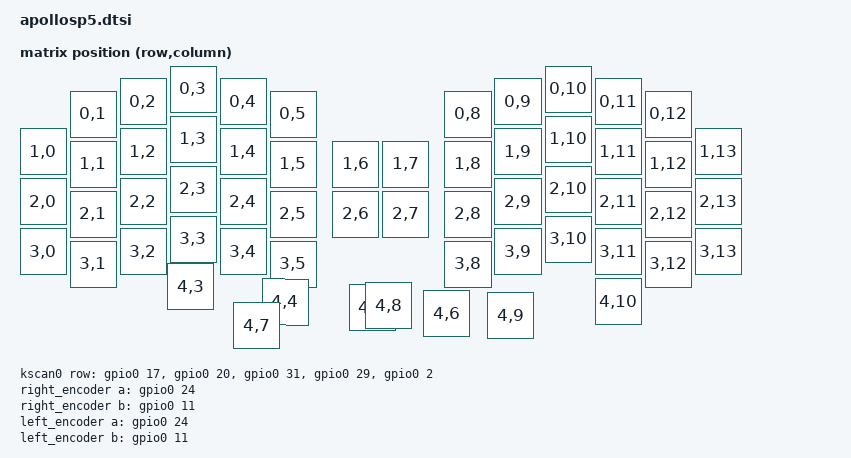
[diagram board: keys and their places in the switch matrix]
#include <dt-bindings/zmk/matrix_transform.h>
#include <physical_layouts.dtsi>
#include <dt-bindings/zmk/mouse.h>

/ {
    chosen {
        zmk,kscan = &kscan0;
        zmk,physical-layout = &physical_layout0;
    };

    vbatt: vbatt {
        compatible = "zmk,battery-nrf-vddh";
    };

    physical_layout0: physical_layout0 {
        compatible = "zmk,physical-layout";
        display-name = "Default Layout";
        transform = <&default_transform>;
keys 
            /* Row 0: 1段目 (10個) */
            = <&key_physical_attrs 100 100 100 25 0 0 0>   // [0,1]
            , <&key_physical_attrs 100 100 200 0 0 0 0>    // [0,2]
            , <&key_physical_attrs 100 100 300 -25 0 0 0>  // [0,3]
            , <&key_physical_attrs 100 100 400 0 0 0 0>    // [0,4]
            , <&key_physical_attrs 100 100 500 25 0 0 0>   // [0,5]

            , <&key_physical_attrs 100 100 850 25 0 0 0>   // [0,8]
            , <&key_physical_attrs 100 100 950 0 0 0 0>    // [0,9]
            , <&key_physical_attrs 100 100 1050 -25 0 0 0> // [0,10]
            , <&key_physical_attrs 100 100 1150 0 0 0 0>   // [0,11]
            , <&key_physical_attrs 100 100 1250 25 0 0 0>  // [0,12]

            /* Row 1: 2段目 (14個) */
            , <&key_physical_attrs 100 100 0 100 0 0 0>     // [1,0]
            , <&key_physical_attrs 100 100 100 125 0 0 0>   // [1,1]
            , <&key_physical_attrs 100 100 200 100 0 0 0>   // [1,2]
            , <&key_physical_attrs 100 100 300 75 0 0 0>    // [1,3]
            , <&key_physical_attrs 100 100 400 100 0 0 0>   // [1,4]
            , <&key_physical_attrs 100 100 500 125 0 0 0>   // [1,5]
            , <&key_physical_attrs 100 100 625 125 0 0 0>   // [1,6]

            , <&key_physical_attrs 100 100 725 125 0 0 0>   // [1,7]
            , <&key_physical_attrs 100 100 850 125 0 0 0>   // [1,8]
            , <&key_physical_attrs 100 100 950 100 0 0 0>   // [1,9]
            , <&key_physical_attrs 100 100 1050 75 0 0 0>   // [1,10]
            , <&key_physical_attrs 100 100 1150 100 0 0 0>  // [1,11]
            , <&key_physical_attrs 100 100 1250 125 0 0 0>  // [1,12]
            , <&key_physical_attrs 100 100 1350 100 0 0 0>  // [1,13]

            /* Row 2: 3段目 (14個) */
            , <&key_physical_attrs 100 100 0 200 0 0 0>     // [2,0]
            , <&key_physical_attrs 100 100 100 225 0 0 0>   // [2,1]
            , <&key_physical_attrs 100 100 200 200 0 0 0>   // [2,2]
            , <&key_physical_attrs 100 100 300 175 0 0 0>   // [2,3]
            , <&key_physical_attrs 100 100 400 200 0 0 0>   // [2,4]
            , <&key_physical_attrs 100 100 500 225 0 0 0>   // [2,5]
            , <&key_physical_attrs 100 100 625 225 0 0 0>   // [2,6]

            , <&key_physical_attrs 100 100 725 225 0 0 0>   // [2,7]
            , <&key_physical_attrs 100 100 850 225 0 0 0>   // [2,8]
            , <&key_physical_attrs 100 100 950 200 0 0 0>   // [2,9]
            , <&key_physical_attrs 100 100 1050 175 0 0 0>  // [2,10]
            , <&key_physical_attrs 100 100 1150 200 0 0 0>  // [2,11]
            , <&key_physical_attrs 100 100 1250 225 0 0 0>  // [2,12]
            , <&key_physical_attrs 100 100 1350 200 0 0 0>  // [2,13]

            /* Row 3: 4段目 (12個) */
            , <&key_physical_attrs 100 100 0 300 0 0 0>     // [3,0]
            , <&key_physical_attrs 100 100 100 325 0 0 0>   // [3,1]
            , <&key_physical_attrs 100 100 200 300 0 0 0>   // [3,2]
            , <&key_physical_attrs 100 100 300 275 0 0 0>   // [3,3]
            , <&key_physical_attrs 100 100 400 300 0 0 0>   // [3,4]
            , <&key_physical_attrs 100 100 500 325 0 0 0>   // [3,5]

            , <&key_physical_attrs 100 100 850 325 0 0 0>   // [3,8]
            , <&key_physical_attrs 100 100 950 300 0 0 0>   // [3,9]
            , <&key_physical_attrs 100 100 1050 275 0 0 0>  // [3,10]
            , <&key_physical_attrs 100 100 1150 300 0 0 0>  // [3,11]
            , <&key_physical_attrs 100 100 1250 325 0 0 0>  // [3,12]
            , <&key_physical_attrs 100 100 1350 300 0 0 0>  // [3,13]

            /* Row 4: 親指 (8個) */
            , <&key_physical_attrs 100 100 295 370 0 0 0>   // [4,3]
            , <&key_physical_attrs 100 100 485 400 10 0 0>  // [4,4]
            , <&key_physical_attrs 100 100 660 410 20 0 0>  // [4,5]
            , <&key_physical_attrs 100 100 810 420 30 0 0>  // [4,6]

            , <&key_physical_attrs 100 100 425 450 -30 0 0> // [4,7]
            , <&key_physical_attrs 100 100 690 410 -20 0 0> // [4,8]
            , <&key_physical_attrs 100 100 935 430 -10 0 0> // [4,9]
            , <&key_physical_attrs 100 100 1150 400 0 0 0>; // [4,10]
    };

    default_transform: keymap_transform0 {
        compatible = "zmk,matrix-transform";
        columns = <14>;
        rows = <5>;
        map = <
            RC(0,1) RC(0,2) RC(0,3) RC(0,4) RC(0,5)                     RC(0,8) RC(0,9) RC(0,10) RC(0,11) RC(0,12)
            RC(1,0) RC(1,1) RC(1,2) RC(1,3) RC(1,4) RC(1,5) RC(1,6)     RC(1,7) RC(1,8) RC(1,9) RC(1,10) RC(1,11) RC(1,12) RC(1,13)
            RC(2,0) RC(2,1) RC(2,2) RC(2,3) RC(2,4) RC(2,5) RC(2,6)     RC(2,7) RC(2,8) RC(2,9) RC(2,10) RC(2,11) RC(2,12) RC(2,13)
            RC(3,0) RC(3,1) RC(3,2) RC(3,3) RC(3,4) RC(3,5)                     RC(3,8) RC(3,9) RC(3,10) RC(3,11) RC(3,12) RC(3,13)
                                    RC(4,3) RC(4,4) RC(4,5) RC(4,6)     RC(4,7) RC(4,8) RC(4,9) RC(4,10)
        >;
    };

    kscan0: kscan {
        compatible = "zmk,kscan-gpio-matrix";
        wakeup-source;
        diode-direction = "col2row";
        row-gpios
            = <&gpio0 17 (GPIO_ACTIVE_LOW | GPIO_PULL_UP)>
            , <&gpio0 20 (GPIO_ACTIVE_LOW | GPIO_PULL_UP)>
            , <&gpio0 31 (GPIO_ACTIVE_LOW | GPIO_PULL_UP)>
            , <&gpio0 29 (GPIO_ACTIVE_LOW | GPIO_PULL_UP)>
            , <&gpio0 2  (GPIO_ACTIVE_LOW | GPIO_PULL_UP)>;
    };

    right_encoder: encoder_right {
        compatible = "alps,ec11";
        a-gpios = <&gpio0 24 (GPIO_ACTIVE_LOW | GPIO_PULL_UP)>;
        b-gpios = <&gpio0 11 (GPIO_ACTIVE_LOW | GPIO_PULL_UP)>;
        steps = <24>;
        status = "disabled";
    };

    left_encoder: encoder_left {
        compatible = "alps,ec11";
        a-gpios = <&gpio0 24 (GPIO_ACTIVE_LOW | GPIO_PULL_UP)>;
        b-gpios = <&gpio0 11 (GPIO_ACTIVE_LOW | GPIO_PULL_UP)>;
        steps = <24>;
        status = "disabled";
    };

    sensors: sensors {
        compatible = "zmk,keymap-sensors";
        sensors = <&left_encoder &right_encoder>;
        triggers-per-rotation = <20>;
    };
};
